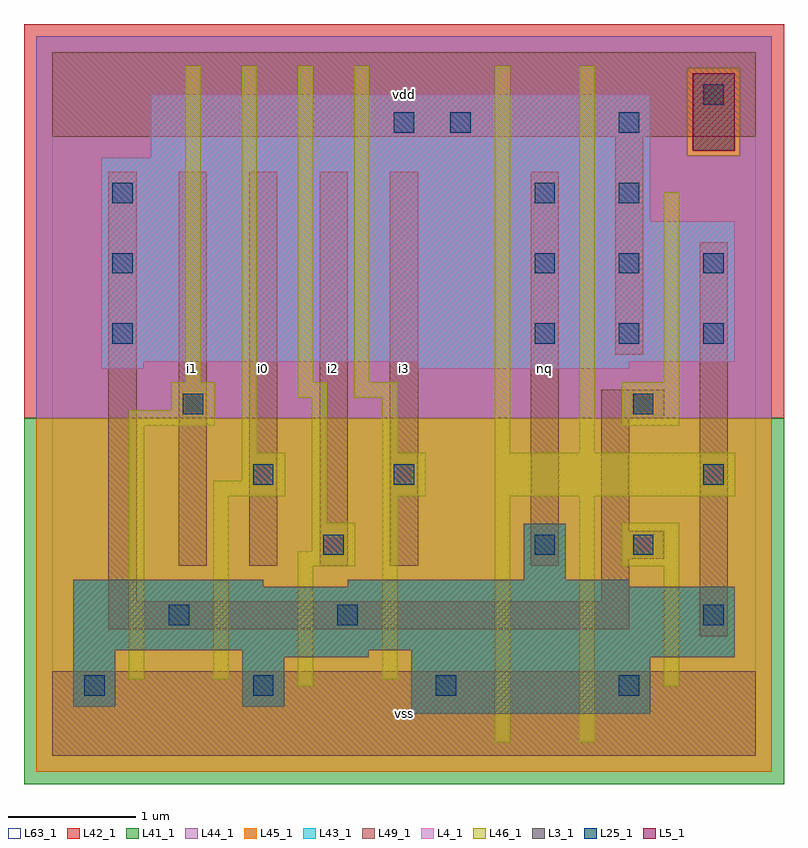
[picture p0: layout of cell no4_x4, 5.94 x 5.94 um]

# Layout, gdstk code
import gdstk
lib = gdstk.Library(unit=1e-6, precision=1e-09)
def R(c, l, rs):  # rectangles x0, y0, x1, y1
    for r in rs: c.add(gdstk.rectangle(r[:2], r[2:], *l))
def A(c, l, x, y, w, h, nx, ny, dx, dy):  # array of equal rectangles
    R(c, l, [(x+i*dx, y+j*dy, x+i*dx+w, y+j*dy+h) for i in range(nx) for j in range(ny)])
L3_1 = (3, 1)
L4_1 = (4, 1)
L5_1 = (5, 1)
L25_1 = (25, 1)
L41_1 = (41, 1)
L42_1 = (42, 1)
L43_1 = (43, 1)
L44_1 = (44, 1)
L45_1 = (45, 1)
L46_1 = (46, 1)
L49_1 = (49, 1)
L63_1 = (63, 1)

no4_x4 = lib.new_cell('no4_x4')
R(no4_x4, L3_1, [(2.805,0.33,4.675,0.77), (0.165,0.385,0.495,0.825), (1.485,0.385,1.815,0.77), (1.485,0.77,2.475,0.825), (2.805,0.77,5.335,0.825), (0.165,0.825,5.335,1.32), (0.165,1.32,1.65,1.375), (2.31,1.32,4.51,1.375), (3.685,1.375,4.015,1.815)])
R(no4_x4, L4_1, [(0.385,3.025,0.715,3.08), (2.86,3.025,4.51,3.08), (0.385,3.08,5.335,4.18), (0.385,4.18,4.675,4.675), (0.77,4.675,4.675,5.17)])
R(no4_x4, L5_1, [(5.005,4.73,5.335,5.335)])
A(no4_x4, L25_1, 1.57, 0.47, 0.16, 0.16, 3, 1, 1.43, 0)
A(no4_x4, L25_1, 0.47, 3.22, 0.16, 0.16, 1, 3, 0, 0.55)
A(no4_x4, L25_1, 3.77, 3.22, 0.16, 0.16, 3, 2, 0.66, 0.55)
R(no4_x4, L25_1, [(0.25,0.47,0.41,0.63), (0.91,1.02,1.07,1.18), (2.23,1.02,2.39,1.18), (5.09,1.02,5.25,1.18), (2.12,1.57,2.28,1.73), (3.77,1.57,3.93,1.73), (4.54,1.57,4.7,1.73), (1.57,2.12,1.73,2.28), (2.67,2.12,2.83,2.28), (5.09,2.12,5.25,2.28), (1.02,2.67,1.18,2.83), (4.54,2.67,4.7,2.83), (3.77,4.32,3.93,4.48), (4.43,4.32,4.59,4.48), (2.67,4.87,2.83,5.03), (3.11,4.87,3.27,5.03), (4.43,4.87,4.59,5.03), (5.09,5.09,5.25,5.25)])
R(no4_x4, L41_1, [(-0.22,-0.22,5.72,2.64)])
R(no4_x4, L42_1, [(-0.22,2.64,5.72,5.72)])
R(no4_x4, L43_1, [(2.805,0.33,4.675,0.77), (0.165,0.385,0.495,0.825), (1.485,0.385,1.815,0.77), (1.485,0.77,2.475,0.825), (2.805,0.77,5.335,0.825), (0.165,0.825,5.335,1.32), (0.165,1.32,1.65,1.375), (2.31,1.32,4.51,1.375), (3.685,1.375,4.015,1.815), (0.385,3.025,0.715,3.08), (2.86,3.025,4.51,3.08), (0.385,3.08,5.335,4.18), (0.385,4.18,4.675,4.675), (0.77,4.675,4.675,5.17), (5.005,4.73,5.335,5.335)])
R(no4_x4, L44_1, [(-0.125,2.64,5.625,4.69), (-0.125,4.69,4.965,5.375), (5.375,4.69,5.625,5.375), (-0.125,5.375,5.625,5.625)])
R(no4_x4, L45_1, [(-0.125,-0.125,5.625,2.64), (4.965,4.69,5.375,5.375)])
R(no4_x4, L46_1, [(3.46,0.105,3.58,2.03), (4.12,0.105,4.24,2.03), (1.92,0.545,2.04,1.48), (4.78,0.545,4.9,1.48), (0.6,0.6,0.72,2.58), (1.26,0.6,1.38,2.03), (2.58,0.6,2.7,2.03), (1.92,1.48,2.37,1.6), (4.45,1.48,4.9,1.82), (2.03,1.6,2.37,1.82), (2.03,1.82,2.15,2.8), (1.26,2.03,1.82,2.15), (2.58,2.03,2.92,2.37), (3.46,2.03,5.34,2.37), (1.48,2.15,1.82,2.37), (1.48,2.37,1.6,5.395), (2.58,2.37,2.7,2.8), (3.46,2.37,3.58,5.395), (4.12,2.37,4.24,5.395), (0.6,2.58,1.27,2.7), (4.45,2.58,4.9,2.92), (0.93,2.7,1.27,2.92), (1.92,2.8,2.15,2.92), (2.36,2.8,2.7,2.92), (1.04,2.92,1.16,5.395), (1.92,2.92,2.04,5.395), (2.36,2.92,2.48,5.395), (4.78,2.92,4.9,4.405)])
A(no4_x4, L49_1, 0.99, 1.485, 0.22, 3.08, 4, 1, 0.55, 0)
R(no4_x4, L49_1, [(0,0,5.5,0.66), (5.06,0.935,5.28,4.015), (0.44,0.99,4.51,1.21), (0.44,1.21,0.66,4.565), (4.29,1.21,4.51,1.54), (3.74,1.485,3.96,4.565), (4.29,1.54,4.785,1.76), (4.29,1.76,4.51,2.64), (4.29,2.64,4.785,2.86), (4.4,3.135,4.62,4.84), (0,4.84,5.5,5.5)])
R(no4_x4, L63_1, [(0,0,5.5,5.5)])
no4_x4.add(gdstk.Label('i1', (1.1,3.025), layer=49, texttype=1))
no4_x4.add(gdstk.Label('i0', (1.65,3.025), layer=49, texttype=1))
no4_x4.add(gdstk.Label('i2', (2.2,3.025), layer=49, texttype=1))
no4_x4.add(gdstk.Label('vss', (2.75,0.33), layer=49, texttype=1))
no4_x4.add(gdstk.Label('i3', (2.75,3.025), layer=49, texttype=1))
no4_x4.add(gdstk.Label('nq', (3.85,3.025), layer=49, texttype=1))
no4_x4.add(gdstk.Label('vdd', (2.75,5.17), layer=49, texttype=1))

lib.write_gds('no4_x4.gds')
